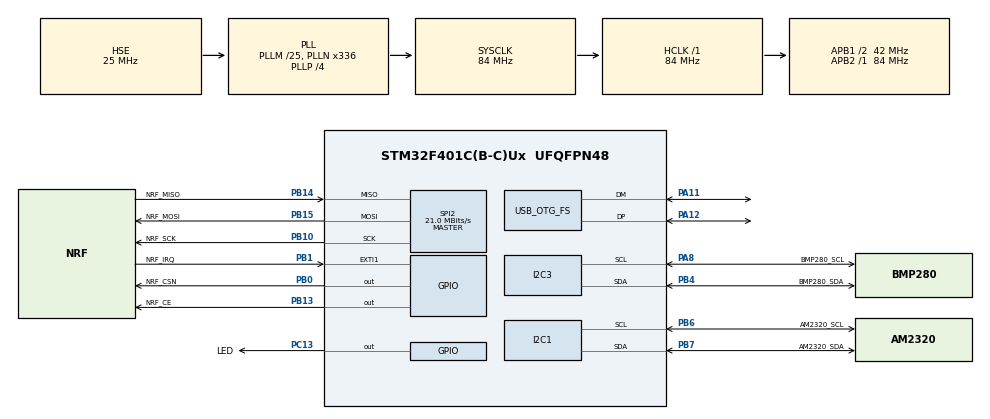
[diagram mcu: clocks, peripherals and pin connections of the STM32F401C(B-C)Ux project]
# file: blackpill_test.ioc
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Mcu.Family=STM32F4
Mcu.Name=STM32F401C(B-C)Ux
Mcu.Package=UFQFPN48
NVIC.EXTI1_IRQn=true\:0\:0\:false\:false\:true\:true\:true\:true
NVIC.OTG_FS_IRQn=true\:0\:0\:false\:false\:true\:false\:true\:true
NVIC.PriorityGroup=NVIC_PRIORITYGROUP_4
NVIC.TIM1_UP_TIM10_IRQn=true\:0\:0\:false\:false\:true\:true\:true\:true
PA11.Mode=Device_Only
PA11.Signal=USB_OTG_FS_DM
PA12.Mode=Device_Only
PA12.Signal=USB_OTG_FS_DP
PA8.GPIO_Label=BMP280_SCL
PA8.Mode=I2C
PA8.Signal=I2C3_SCL
PB0.GPIO_Label=NRF_CSN
PB0.Signal=GPIO_Output
PB1.GPIO_Label=NRF_IRQ
PB1.GPIO_ModeDefaultEXTI=GPIO_MODE_IT_FALLING
PB1.Signal=GPXTI1
PB10.GPIO_Label=NRF_SCK
PB10.Mode=Full_Duplex_Master
PB10.Signal=SPI2_SCK
PB13.GPIO_Label=NRF_CE
PB13.Signal=GPIO_Output
PB14.GPIO_Label=NRF_MISO
PB14.Mode=Full_Duplex_Master
PB14.Signal=SPI2_MISO
PB15.GPIO_Label=NRF_MOSI
PB15.Mode=Full_Duplex_Master
PB15.Signal=SPI2_MOSI
PB4.GPIO_Label=BMP280_SDA
PB4.Mode=I2C
PB4.Signal=I2C3_SDA
PB6.GPIO_Label=AM2320_SCL
PB6.Mode=I2C
PB6.Signal=I2C1_SCL
PB7.GPIO_Label=AM2320_SDA
PB7.Mode=I2C
PB7.Signal=I2C1_SDA
PC13-ANTI_TAMP.GPIO_Label=LED
PC13-ANTI_TAMP.Signal=GPIO_Output
PC14-OSC32_IN.Mode=LSE-External-Oscillator
PC14-OSC32_IN.Signal=RCC_OSC32_IN
PC15-OSC32_OUT.Mode=LSE-External-Oscillator
PC15-OSC32_OUT.Signal=RCC_OSC32_OUT
PH0\ -\ OSC_IN.Mode=HSE-External-Oscillator
PH0\ -\ OSC_IN.Signal=RCC_OSC_IN
PH1\ -\ OSC_OUT.Mode=HSE-External-Oscillator
PH1\ -\ OSC_OUT.Signal=RCC_OSC_OUT
ProjectManager.HeapSize=0x200
ProjectManager.StackSize=0x400
ProjectManager.TargetToolchain=STM32CubeIDE
RCC.48MHZClocksFreq_Value=48000000
RCC.AHBFreq_Value=84000000
RCC.APB1CLKDivider=RCC_HCLK_DIV2
RCC.APB1Freq_Value=42000000
RCC.APB1TimFreq_Value=84000000
RCC.APB2Freq_Value=84000000
RCC.APB2TimFreq_Value=84000000
RCC.CortexFreq_Value=84000000
RCC.HCLKFreq_Value=84000000
RCC.HSE_VALUE=25000000
RCC.HSI_VALUE=16000000
RCC.PLLM=25
RCC.PLLN=336
RCC.PLLP=RCC_PLLP_DIV4
RCC.PLLQ=7
RCC.SYSCLKFreq_VALUE=84000000
RCC.SYSCLKSource=RCC_SYSCLKSOURCE_PLLCLK
RCC.VCOOutputFreq_Value=336000000
SPI2.CalculateBaudRate=21.0 MBits/s
SPI2.Direction=SPI_DIRECTION_2LINES
SPI2.Mode=SPI_MODE_MASTER
SPI2.VirtualType=VM_MASTER
TIM10.Period=60000-1
TIM10.Prescaler=42000-1
USB_DEVICE.CLASS_NAME_FS=CDC
USB_DEVICE.VirtualMode=Cdc
USB_DEVICE.VirtualModeFS=Cdc_FS
USB_OTG_FS.VirtualMode=Device_Only
VP_TIM10_VS_ClockSourceINT.Mode=Enable_Timer
VP_USB_DEVICE_VS_USB_DEVICE_CDC_FS.Mode=CDC_FS
board=custom

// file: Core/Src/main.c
/* USER CODE BEGIN Header */
/**
  ******************************************************************************
  * @file           : main.c
  * @brief          : Main program body
  ******************************************************************************
  * @attention
  *
  * Copyright (c) 2022 STMicroelectronics.
  * All rights reserved.
  *
  * This software is licensed under terms that can be found in the LICENSE file
  * in the root directory of this software component.
  * If no LICENSE file comes with this software, it is provided AS-IS.
  *
  ******************************************************************************
  */
/* USER CODE END Header */
#include "main.h"
#include "usb_device.h"

/* USER CODE BEGIN Includes */
#include "am2320.h"
#include "bmp280.h"
#include "nrf/nrf.h"
/* USER CODE END Includes */

I2C_HandleTypeDef hi2c1;
I2C_HandleTypeDef hi2c3;

SPI_HandleTypeDef hspi2;

TIM_HandleTypeDef htim10;

/* USER CODE BEGIN PV */
int32_t bmp280_temp;
uint32_t bmp280_press;
uint8_t nrfInterrupt = 0;

static uint8_t timerElapsedFlag = 0;
static uint8_t startMeasFlag = 0;
/* USER CODE END PV */

void SystemClock_Config(void);
static void MX_GPIO_Init(void);
static void MX_I2C1_Init(void);
static void MX_I2C3_Init(void);
static void MX_SPI2_Init(void);
static void MX_TIM10_Init(void);

/* USER CODE BEGIN 0 */
typedef enum {
    nRF24_TX_ERROR  = (uint8_t)0x00, // Unknown error
    nRF24_TX_SUCCESS,                // Packet has been transmitted successfully
    nRF24_TX_TIMEOUT,                // It was timeout during packet transmit
    nRF24_TX_MAXRT                   // Transmit failed with maximum auto retransmit count
} nRF24_TXResult;

static nRF24_TXResult NRF_Transmit(uint8_t* data, uint8_t length);

extern uint8_t CDC_Transmit_FS(uint8_t* Buf, uint16_t Len);
/* USER CODE END 0 */

int main(void)
{

  /* MCU Configuration--------------------------------------------------------*/

  /* Reset of all peripherals, Initializes the Flash interface and the Systick. */
  HAL_Init();

  /* Configure the system clock */
  SystemClock_Config();

  /* Initialize all configured peripherals */
  MX_GPIO_Init();
  MX_USB_DEVICE_Init();
  MX_I2C1_Init();
  MX_I2C3_Init();
  MX_SPI2_Init();
  MX_TIM10_Init();
  /* USER CODE BEGIN 2 */
  HAL_TIM_Base_Start_IT(&htim10);

  AM2320_HandleTypeDef am2320 = am2320_init(&hi2c1, AM2320_ADDRESS);

  BMP280_HandleTypedef bmp280;
  bmp280.i2c_handle_ = &hi2c3;
  bmp280_init_force_mode(&bmp280);

  uint8_t status = 0;

   // initialize nrf handle
   NRF_HandleTypedef nrf;
   if(!NRF_Init(&nrf)){
 	  Error_Handler();
   }
   // pipe configuration
   // address will be clocked from last to first
   // need to clock same address for rx and tx pipe for transmitter
   static uint8_t nrf_addr[] = {0x69, 0x21, 0x37};
   if(!NRF_SET_PipeAddress(RX_PIPE_0, nrf_addr)){
 	  return NRF_ERROR;
   }
   if(!NRF_SET_PipeAddress(TX_PIPE, nrf_addr)){
 	  return NRF_ERROR;
   }

   // preapre pipe RX 0 for auto ack
   if(!NRF_SET_PipeRX(RX_PIPE_0, AA_ON, 0)){
 	  return NRF_ERROR;
   }

   // prepare pipe TX
   if(!NRF_SET_PipeTX(RX_PIPE_0, AA_ON)){
 	  return NRF_ERROR;
   }

   // set mode to transmitter
   if(!NRF_SET_Mode(TX)){
 	  return NRF_ERROR;
   }

   // turn transmitter on and wait for at least 1.5 ms
   if(!NRF_SET_PowerMode(PWR_UP)){
 	  return NRF_ERROR;
   }

   HAL_Delay(2);
   uint8_t payload[12];
//   NRF_PrintConfig();
  /* USER CODE END 2 */

  /* Infinite loop */
  /* USER CODE BEGIN WHILE */
  while (1)
  {
	  if(startMeasFlag){
//	  HAL_Delay(5000);
		  if(am2320_read_temperature_and_humidity(&am2320)){
			  payload[0] = am2320.last_temperature >> 8;
			  payload[1] = am2320.last_temperature;
			  payload[2] = am2320.last_humidity >> 8;
			  payload[3] = am2320.last_humidity;
		  }
		  else{
			  payload[0] = 255 >> 8;
			  payload[1] = 255;
			  payload[2] = 255 >> 8;
			  payload[3] = 255;
		  }
		  if(bmp280_force_measurement(&bmp280)){
			  if(bmp280_get_measurements(&bmp280, &bmp280_press, &bmp280_temp)){
				  payload[4] = bmp280_temp >> 24;
				  payload[5] = bmp280_temp >> 16;
				  payload[6] = bmp280_temp >> 8;
				  payload[7] = bmp280_temp;
				  payload[8] = bmp280_press >> 24;
				  payload[9] = bmp280_press >> 16;
				  payload[10] = bmp280_press >> 8;
				  payload[11] = bmp280_press;
			  }
			  else{
				  payload[4] = 255 >> 24;
				  payload[5] = 255 >> 16;
				  payload[6] = 255 >> 8;
				  payload[7] = 255;
				  payload[8] = 0;
				  payload[9] = 0;
				  payload[10] = 0;
				  payload[11] = 0;
			  }
		  }
		  else{
			  payload[4] = 255 >> 24;
			  payload[5] = 255 >> 16;
			  payload[6] = 255 >> 8;
			  payload[7] = 255;
			  payload[8] = 0;
			  payload[9] = 0;
			  payload[10] = 0;
			  payload[11] = 0;
		  }
		  nRF24_TXResult tx_res = NRF_Transmit(payload, (uint8_t)12);
		  switch (tx_res) {
		  case nRF24_TX_SUCCESS:
			  printf("OK\n");
			  break;
		  case nRF24_TX_TIMEOUT:
			  printf("TIMEOUT\n");
			  break;
		  case nRF24_TX_MAXRT:
			  printf("MAX RETRANSMIT\n");
			  NRF_ResetPlos();
			  NRF_FlushTXFifo();
			  break;
		  default:
			  printf("ERROR\n");
			  break;
		  }
		  startMeasFlag = 0;
	  }
    /* USER CODE END WHILE */

  }
}

void SystemClock_Config(void)
{
  RCC_OscInitTypeDef RCC_OscInitStruct = {0};
  RCC_ClkInitTypeDef RCC_ClkInitStruct = {0};

  /** Configure the main internal regulator output voltage
  */
  __HAL_RCC_PWR_CLK_ENABLE();
  __HAL_PWR_VOLTAGESCALING_CONFIG(PWR_REGULATOR_VOLTAGE_SCALE2);

  /** Initializes the RCC Oscillators according to the specified parameters
  * in the RCC_OscInitTypeDef structure.
  */
  RCC_OscInitStruct.OscillatorType = RCC_OSCILLATORTYPE_HSE;
  RCC_OscInitStruct.HSEState = RCC_HSE_ON;
  RCC_OscInitStruct.PLL.PLLState = RCC_PLL_ON;
  RCC_OscInitStruct.PLL.PLLSource = RCC_PLLSOURCE_HSE;
  RCC_OscInitStruct.PLL.PLLM = 25;
  RCC_OscInitStruct.PLL.PLLN = 336;
  RCC_OscInitStruct.PLL.PLLP = RCC_PLLP_DIV4;
  RCC_OscInitStruct.PLL.PLLQ = 7;
  if (HAL_RCC_OscConfig(&RCC_OscInitStruct) != HAL_OK)
  {
    Error_Handler();
  }

  /** Initializes the CPU, AHB and APB buses clocks
  */
  RCC_ClkInitStruct.ClockType = RCC_CLOCKTYPE_HCLK|RCC_CLOCKTYPE_SYSCLK
                              |RCC_CLOCKTYPE_PCLK1|RCC_CLOCKTYPE_PCLK2;
  RCC_ClkInitStruct.SYSCLKSource = RCC_SYSCLKSOURCE_PLLCLK;
  RCC_ClkInitStruct.AHBCLKDivider = RCC_SYSCLK_DIV1;
  RCC_ClkInitStruct.APB1CLKDivider = RCC_HCLK_DIV2;
  RCC_ClkInitStruct.APB2CLKDivider = RCC_HCLK_DIV1;

  if (HAL_RCC_ClockConfig(&RCC_ClkInitStruct, FLASH_LATENCY_2) != HAL_OK)
  {
    Error_Handler();
  }
}

static void MX_I2C1_Init(void)
{

  hi2c1.Instance = I2C1;
  hi2c1.Init.ClockSpeed = 100000;
  hi2c1.Init.DutyCycle = I2C_DUTYCYCLE_2;
  hi2c1.Init.OwnAddress1 = 0;
  hi2c1.Init.AddressingMode = I2C_ADDRESSINGMODE_7BIT;
  hi2c1.Init.DualAddressMode = I2C_DUALADDRESS_DISABLE;
  hi2c1.Init.OwnAddress2 = 0;
  hi2c1.Init.GeneralCallMode = I2C_GENERALCALL_DISABLE;
  hi2c1.Init.NoStretchMode = I2C_NOSTRETCH_DISABLE;
  if (HAL_I2C_Init(&hi2c1) != HAL_OK)
  {
    Error_Handler();
  }

}

static void MX_I2C3_Init(void)
{

  hi2c3.Instance = I2C3;
  hi2c3.Init.ClockSpeed = 100000;
  hi2c3.Init.DutyCycle = I2C_DUTYCYCLE_2;
  hi2c3.Init.OwnAddress1 = 0;
  hi2c3.Init.AddressingMode = I2C_ADDRESSINGMODE_7BIT;
  hi2c3.Init.DualAddressMode = I2C_DUALADDRESS_DISABLE;
  hi2c3.Init.OwnAddress2 = 0;
  hi2c3.Init.GeneralCallMode = I2C_GENERALCALL_DISABLE;
  hi2c3.Init.NoStretchMode = I2C_NOSTRETCH_DISABLE;
  if (HAL_I2C_Init(&hi2c3) != HAL_OK)
  {
    Error_Handler();
  }

}

static void MX_SPI2_Init(void)
{

  /* SPI2 parameter configuration*/
  hspi2.Instance = SPI2;
  hspi2.Init.Mode = SPI_MODE_MASTER;
  hspi2.Init.Direction = SPI_DIRECTION_2LINES;
  hspi2.Init.DataSize = SPI_DATASIZE_8BIT;
  hspi2.Init.CLKPolarity = SPI_POLARITY_LOW;
  hspi2.Init.CLKPhase = SPI_PHASE_1EDGE;
  hspi2.Init.NSS = SPI_NSS_SOFT;
  hspi2.Init.BaudRatePrescaler = SPI_BAUDRATEPRESCALER_2;
  hspi2.Init.FirstBit = SPI_FIRSTBIT_MSB;
  hspi2.Init.TIMode = SPI_TIMODE_DISABLE;
  hspi2.Init.CRCCalculation = SPI_CRCCALCULATION_DISABLE;
  hspi2.Init.CRCPolynomial = 10;
  if (HAL_SPI_Init(&hspi2) != HAL_OK)
  {
    Error_Handler();
  }

}

static void MX_TIM10_Init(void)
{

  htim10.Instance = TIM10;
  htim10.Init.Prescaler = 42000-1;
  htim10.Init.CounterMode = TIM_COUNTERMODE_UP;
  htim10.Init.Period = 60000-1;
  htim10.Init.ClockDivision = TIM_CLOCKDIVISION_DIV1;
  htim10.Init.AutoReloadPreload = TIM_AUTORELOAD_PRELOAD_DISABLE;
  if (HAL_TIM_Base_Init(&htim10) != HAL_OK)
  {
    Error_Handler();
  }

}

static void MX_GPIO_Init(void)
{
  GPIO_InitTypeDef GPIO_InitStruct = {0};

  /* GPIO Ports Clock Enable */
  __HAL_RCC_GPIOC_CLK_ENABLE();
  __HAL_RCC_GPIOH_CLK_ENABLE();
  __HAL_RCC_GPIOB_CLK_ENABLE();
  __HAL_RCC_GPIOA_CLK_ENABLE();

  /*Configure GPIO pin Output Level */
  HAL_GPIO_WritePin(LED_GPIO_Port, LED_Pin, GPIO_PIN_RESET);

  /*Configure GPIO pin Output Level */
  HAL_GPIO_WritePin(GPIOB, NRF_CSN_Pin|NRF_CE_Pin, GPIO_PIN_RESET);

  /*Configure GPIO pin : LED_Pin */
  GPIO_InitStruct.Pin = LED_Pin;
  GPIO_InitStruct.Mode = GPIO_MODE_OUTPUT_PP;
  GPIO_InitStruct.Pull = GPIO_NOPULL;
  GPIO_InitStruct.Speed = GPIO_SPEED_FREQ_LOW;
  HAL_GPIO_Init(LED_GPIO_Port, &GPIO_InitStruct);

  /*Configure GPIO pins : NRF_CSN_Pin NRF_CE_Pin */
  GPIO_InitStruct.Pin = NRF_CSN_Pin|NRF_CE_Pin;
  GPIO_InitStruct.Mode = GPIO_MODE_OUTPUT_PP;
  GPIO_InitStruct.Pull = GPIO_NOPULL;
  GPIO_InitStruct.Speed = GPIO_SPEED_FREQ_LOW;
  HAL_GPIO_Init(GPIOB, &GPIO_InitStruct);

  /*Configure GPIO pin : NRF_IRQ_Pin */
  GPIO_InitStruct.Pin = NRF_IRQ_Pin;
  GPIO_InitStruct.Mode = GPIO_MODE_IT_FALLING;
  GPIO_InitStruct.Pull = GPIO_NOPULL;
  HAL_GPIO_Init(NRF_IRQ_GPIO_Port, &GPIO_InitStruct);

  /* EXTI interrupt init*/
  HAL_NVIC_SetPriority(EXTI1_IRQn, 0, 0);
  HAL_NVIC_EnableIRQ(EXTI1_IRQn);

}

/* USER CODE BEGIN 4 */
void HAL_GPIO_EXTI_Callback(uint16_t GPIO_Pin){
	if(GPIO_Pin == NRF_IRQ_Pin){
		// if interrupt comes from IRQ pin, then set flag
		nrfInterrupt = 1;
	}
}

// minute timer interrupt
void HAL_TIM_PeriodElapsedCallback(TIM_HandleTypeDef *htim){
	if(htim == &htim10){
		timerElapsedFlag++;
		if(timerElapsedFlag == 4){
			startMeasFlag = 1;
			timerElapsedFlag = 0;
		}
	}
}

static nRF24_TXResult NRF_Transmit(uint8_t* data, uint8_t length){
	uint8_t status = 0;
	uint32_t wait = 0xFFFF;
	NRF_CE_SET_LOW;

	// write tx payload
	if(!NRF_WriteTxPayload(data, length)){
		return NRF_ERROR;
	}

	NRF_CE_SET_HIGH;

	do{
		NRF_ReadRegs(NRF_REG_STATUS, &status, 1);
		if (status & (NRF_MASK_TX_DS | NRF_MASK_MAX_RT)) {
			break;
		}
	}while(wait--);

	//deassert ce pin
	NRF_CE_SET_LOW;

	if(!wait){
		//timeout
		return NRF_ERROR;
	}

	printf("Status inside of transmit function: %d\n", status);

	// Clear pending IRQ flags
	NRF_ClearIRQFlags();

	if (status & NRF_MASK_MAX_RT) {
		// Auto retransmit counter exceeds the programmed maximum limit (FIFO is not removed)
		return nRF24_TX_MAXRT;
	}

	if (status & NRF_MASK_TX_DS) {
		// Successful transmission
		return nRF24_TX_SUCCESS;
	}

	// Some banana happens, a payload remains in the TX FIFO, flush it
	NRF_FlushTXFifo();

	return nRF24_TX_ERROR;
}
/* USER CODE END 4 */

void Error_Handler(void)
{
  __disable_irq();
  while (1)
  {
  }
}
